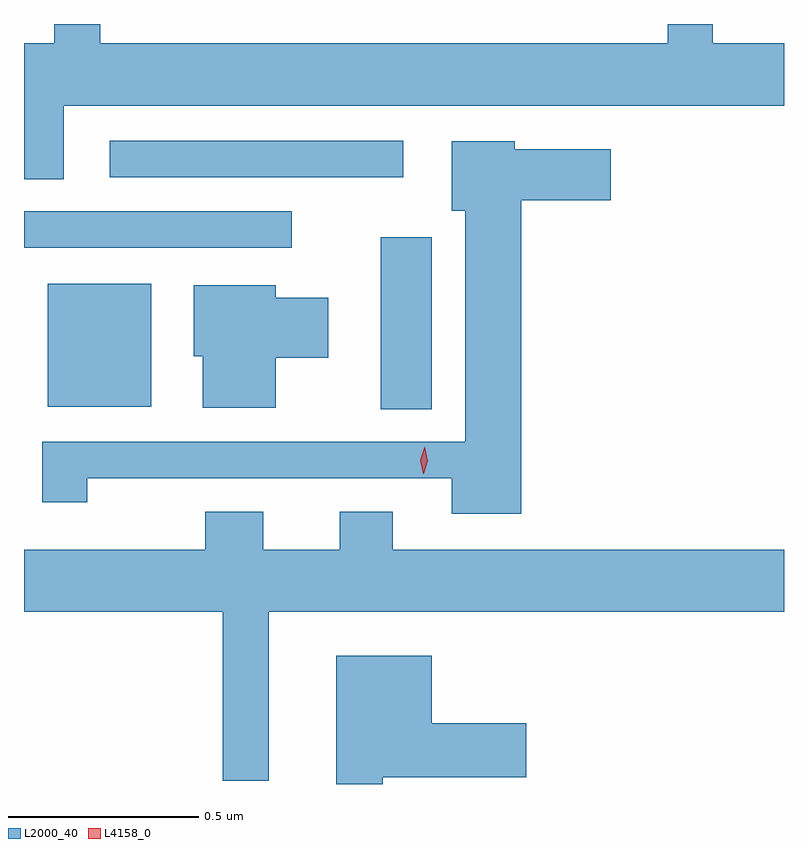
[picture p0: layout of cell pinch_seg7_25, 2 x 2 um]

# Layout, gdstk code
import gdstk
lib = gdstk.Library(unit=1e-6, precision=1e-09)
def R(c, l, rs):  # rectangles x0, y0, x1, y1
    for r in rs: c.add(gdstk.rectangle(r[:2], r[2:], *l))
def P(c, l, *ps):  # polygons
    for p in ps: c.add(gdstk.Polygon(p, *l))
L2000_40 = (2000, 40)
L4158_0 = (4158, 0)

pinch_seg7_25 = lib.new_cell('pinch_seg7_25')
R(pinch_seg7_25, L2000_40, [(1043.804,1047.769,1043.938,1048.222), (1042.928,1047.776,1043.2,1048.099), (1042.865,1048.194,1043.569,1048.29), (1043.091,1048.38,1043.863,1048.476)])
P(pinch_seg7_25, L2000_40, [(1042.969,1048.568),(1044.865,1048.568),(1044.865,1048.732),(1044.677,1048.732),(1044.677,1048.783),(1044.559,1048.783),(1044.559,1048.732),(1043.065,1048.732),(1043.065,1048.783),(1042.944,1048.783),(1042.944,1048.732),(1042.865,1048.732),(1042.865,1048.375),(1042.969,1048.375)],
  [(1044.173,1048.319),(1044.409,1048.319),(1044.409,1048.453),(1044.156,1048.453),(1044.156,1048.474),(1043.99,1048.474),(1043.99,1048.292),(1044.026,1048.292),(1044.026,1047.684),(1042.913,1047.684),(1042.913,1047.525),(1043.031,1047.525),(1043.031,1047.587),(1043.258,1047.587),(1043.258,1047.588),(1043.99,1047.588),(1043.99,1047.494),(1044.173,1047.494)],
  [(1043.527,1047.905),(1043.665,1047.905),(1043.665,1048.063),(1043.527,1048.063),(1043.527,1048.096),(1043.312,1048.096),(1043.312,1047.909),(1043.336,1047.909),(1043.336,1047.773),(1043.527,1047.773)],
  [(1043.509,1047.236),(1044.865,1047.236),(1044.865,1047.4),(1043.836,1047.4),(1043.836,1047.499),(1043.696,1047.499),(1043.696,1047.4),(1043.494,1047.4),(1043.494,1047.499),(1043.342,1047.499),(1043.342,1047.4),(1042.865,1047.4),(1042.865,1047.236),(1043.388,1047.236),(1043.388,1046.792),(1043.509,1046.792)],
  [(1043.809,1046.801),(1044.187,1046.801),(1044.187,1046.943),(1043.938,1046.943),(1043.938,1047.121),(1043.687,1047.121),(1043.687,1046.783),(1043.809,1046.783)])
P(pinch_seg7_25, L4158_0, [(1043.916,1047.599),(1043.916,1047.599),(1043.908,1047.635),(1043.919,1047.671),(1043.919,1047.671),(1043.919,1047.671),(1043.928,1047.634),(1043.917,1047.599)])

lib.write_gds('pinch_seg7_25.gds')
